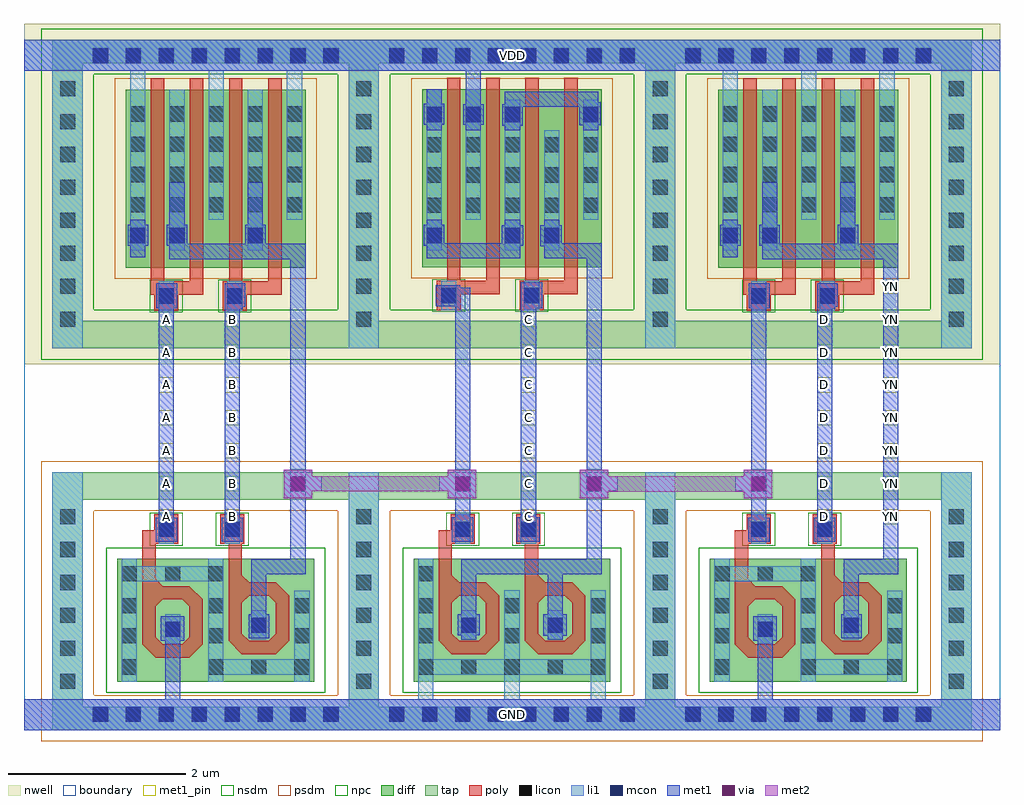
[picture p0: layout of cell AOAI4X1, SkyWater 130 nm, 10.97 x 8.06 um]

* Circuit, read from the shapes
.subckt AOAI4X1 A B C D GND VDD YN
XM1 n1 A GND GND sky130_fd_pr__nfet_01v8 w=2.6 l=0.1468
XM2 n1 B n2 GND sky130_fd_pr__nfet_01v8 w=2.56 l=0.1474
XM3 GND n2 n3 GND sky130_fd_pr__nfet_01v8 w=2.56 l=0.147
XM4 GND C n3 GND sky130_fd_pr__nfet_01v8 w=2.56 l=0.1471
XM5 n4 n3 GND GND sky130_fd_pr__nfet_01v8 w=2.6 l=0.1468
XM6 n4 D YN GND sky130_fd_pr__nfet_01v8 w=2.56 l=0.1473
XM7 n2 A VDD VDD sky130_fd_pr__pfet_01v8 w=2 l=0.15 m=2
XM8 n2 B VDD VDD sky130_fd_pr__pfet_01v8 w=2 l=0.15 m=2
XM9 VDD n2 n5 VDD sky130_fd_pr__pfet_01v8 w=2 l=0.15 m=2
XM10 n3 C n5 VDD sky130_fd_pr__pfet_01v8 w=2 l=0.15 m=2
XM11 YN n3 VDD VDD sky130_fd_pr__pfet_01v8 w=2 l=0.15 m=2
XM12 YN D VDD VDD sky130_fd_pr__pfet_01v8 w=2 l=0.15 m=2
.ends

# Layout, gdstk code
from math import pi, radians
import gdstk
lib = gdstk.Library(unit=1e-6, precision=1e-09)
def R(c, l, rs):  # rectangles x0, y0, x1, y1
    for r in rs: c.add(gdstk.rectangle(r[:2], r[2:], *l))
def A(c, l, x, y, w, h, nx, ny, dx, dy):  # array of equal rectangles
    R(c, l, [(x+i*dx, y+j*dy, x+i*dx+w, y+j*dy+h) for i in range(nx) for j in range(ny)])
def P(c, l, *ps):  # polygons
    for p in ps: c.add(gdstk.Polygon(p, *l))
nwell = (64, 20)
diff = (65, 20)
tap = (65, 44)
poly = (66, 20)
licon = (66, 44)
li1 = (67, 20)
mcon = (67, 44)
met1_pin = (68, 16)
met1 = (68, 20)
via = (68, 44)
met2 = (69, 20)
nsdm = (93, 44)
psdm = (94, 20)
npc = (95, 20)
boundary = (235, 4)

diff_ring_side = lib.new_cell('diff_ring_side')
R(diff_ring_side, nwell, [(-0.435,3.93,0.435,7.75)])
R(diff_ring_side, tap, [(-0.17,-0.17,0.17,2.72), (-0.17,4.11,0.17,7.57)])
A(diff_ring_side, licon, -0.085, 0.285, 0.17, 0.17, 1, 6, 0, 0.37)
A(diff_ring_side, licon, -0.085, 4.355, 0.17, 0.17, 1, 8, 0, 0.37)
R(diff_ring_side, li1, [(-0.17,-0.17,0.17,2.72), (-0.17,4.11,0.17,7.57)])
R(diff_ring_side, met1, [(-0.17,-0.17,0.17,0.17), (-0.17,7.23,0.17,7.57)])
R(diff_ring_side, nsdm, [(-0.295,3.985,0.295,7.695)])
R(diff_ring_side, psdm, [(-0.295,-0.295,0.295,2.845)])

nmos_top_trim1 = lib.new_cell('nmos_top_trim1')
R(nmos_top_trim1, diff, [(0,0,1.24,1.38)])
R(nmos_top_trim1, poly, [(0.43,0.31,0.81,0.46), (0.28,0.46,0.43,0.965), (0.81,0.46,0.96,0.965), (0.43,0.965,0.96,1.115), (0.81,1.115,0.96,1.545)])
P(nmos_top_trim1, poly, [(0.73,1.115),(0.81,1.115),(0.81,1.195)],
  [(0.28,0.965),(0.43,0.965),(0.43,1.115)],
  [(0.43,0.885),(0.43,0.965),(0.51,0.965)],
  [(0.73,0.965),(0.81,0.965),(0.81,0.885)],
  [(0.43,0.54),(0.43,0.46),(0.51,0.46)],
  [(0.73,0.46),(0.81,0.46),(0.81,0.54)],
  [(0.28,0.46),(0.43,0.46),(0.43,0.31)],
  [(0.81,0.31),(0.81,0.46),(0.96,0.46)])
A(nmos_top_trim1, licon, 0.05, 0.08, 0.17, 0.17, 3, 1, 0.485, 0)
R(nmos_top_trim1, licon, [(0.05,0.43,0.22,0.6), (1.02,0.43,1.19,0.6), (0.535,0.55,0.705,0.72), (0.05,0.77,0.22,0.94), (1.02,0.77,1.19,0.94), (1.02,1.13,1.19,1.3)])
R(nmos_top_trim1, li1, [(0.05,0,0.22,0.08), (1.02,0,1.19,0.08), (0.05,0.08,1.19,0.25), (0.05,0.25,0.22,1.02), (1.02,0.25,1.19,1.38), (0.535,0.47,0.705,0.805)])
R(nmos_top_trim1, nsdm, [(-0.125,-0.125,1.365,1.505)])

pmos2_1 = lib.new_cell('pmos2_1')
R(pmos2_1, nwell, [(0.26,-2.175,1.76,0.185)])
R(pmos2_1, diff, [(0.44,-1.995,1.58,0.005)])
R(pmos2_1, poly, [(0.72,-2.3,1.31,-2.15), (0.72,-2.15,0.87,0.135), (1.16,-2.15,1.31,0.135)])
A(pmos2_1, licon, 0.49, -1.385, 0.17, 0.17, 3, 3, 0.44, 0.34)
A(pmos2_1, li1, 0.49, -1.465, 0.17, 1.01, 3, 1, 0.44, 0)
R(pmos2_1, psdm, [(0.315,-2.12,1.705,0.13)])

poly_li1_contact = lib.new_cell('poly_li1_contact')
R(poly_li1_contact, poly, [(-0.16,-0.14,0.17,0.13)])
R(poly_li1_contact, licon, [(-0.08,-0.09,0.09,0.08)])
R(poly_li1_contact, li1, [(-0.16,-0.09,0.17,0.08)])
R(poly_li1_contact, npc, [(-0.18,-0.19,0.19,0.18)])

nmos_top_trim2 = lib.new_cell('nmos_top_trim2')
R(nmos_top_trim2, diff, [(0,0,1.24,1.38)])
R(nmos_top_trim2, poly, [(0.43,0.31,0.81,0.46), (0.28,0.46,0.43,0.89), (0.81,0.46,0.96,0.89), (0.28,0.89,0.435,0.965), (0.805,0.89,0.96,0.965), (0.43,0.965,0.96,1.115), (0.81,1.115,0.96,1.545)])
P(nmos_top_trim2, poly, [(0.73,1.115),(0.81,1.115),(0.81,1.195)],
  [(0.28,0.965),(0.43,0.965),(0.43,1.115)],
  [(0.435,0.89),(0.435,0.965),(0.51,0.965)],
  [(0.73,0.965),(0.805,0.965),(0.805,0.89)],
  [(0.43,0.54),(0.43,0.46),(0.51,0.46)],
  [(0.73,0.46),(0.81,0.46),(0.81,0.54)],
  [(0.28,0.46),(0.43,0.46),(0.43,0.31)],
  [(0.81,0.31),(0.81,0.46),(0.96,0.46)])
A(nmos_top_trim2, licon, 0.05, 0.08, 0.17, 0.17, 3, 1, 0.485, 0)
R(nmos_top_trim2, licon, [(0.05,0.43,0.22,0.6), (1.02,0.43,1.19,0.6), (0.535,0.55,0.705,0.72), (0.05,0.77,0.22,0.94), (1.02,0.77,1.19,0.94)])
R(nmos_top_trim2, li1, [(0.05,0,0.22,0.08), (1.02,0,1.19,0.08), (0.05,0.08,1.19,0.25), (0.05,0.25,0.22,1.025), (1.02,0.25,1.19,1.025), (0.535,0.47,0.705,0.805)])
R(nmos_top_trim2, nsdm, [(-0.125,-0.125,1.365,1.505)])

nor2x1_pcell = lib.new_cell('nor2x1_pcell')
R(nor2x1_pcell, nwell, [(0.435,3.93,2.895,7.75)])
A(nor2x1_pcell, diff, 0.705, 6.655, 0.17, 0.17, 3, 1, 0.44, 0)
R(nor2x1_pcell, diff, [(0.705,5.215,0.875,5.465), (1.585,5.215,1.755,5.25), (2.025,5.215,2.195,5.25), (1.585,5.295,1.755,5.465), (2.025,5.295,2.195,5.465), (2.465,6.655,2.635,6.825)])
R(nor2x1_pcell, tap, [(0.17,-0.17,3.16,0.085), (0.17,2.41,3.16,2.72), (0.17,4.11,3.16,4.42), (0.17,7.315,3.16,7.57)])
R(nor2x1_pcell, poly, [(0.84,1.875,0.99,2.065), (1.81,1.91,1.96,1.915)])
A(nor2x1_pcell, licon, 0.285, -0.085, 0.17, 0.17, 8, 2, 0.37, 7.4)
A(nor2x1_pcell, licon, 0.705, 6.655, 0.17, 0.17, 3, 1, 0.44, 0)
R(nor2x1_pcell, licon, [(0.705,5.295,0.875,5.465), (1.585,5.295,1.755,5.465), (2.025,5.295,2.195,5.465), (2.465,6.655,2.635,6.825)])
R(nor2x1_pcell, li1, [(0.165,-0.17,3.285,0.17), (0.61,0.17,0.78,0.785), (1.58,0.17,1.75,0.445), (2.55,0.17,2.72,0.445), (1.095,0.915,1.265,1.085), (2.065,0.915,2.235,1.085), (1.025,1.995,1.195,2.165), (1.765,1.995,1.935,2.165), (0.87,4.62,1.04,4.79), (1.8,4.62,1.97,4.79), (0.705,5.215,0.875,5.975), (1.585,5.215,1.755,5.975), (2.025,5.215,2.195,5.975), (1.145,6.145,1.315,7.025), (1.585,6.145,1.755,6.905), (2.465,6.145,2.635,6.905), (0.705,6.56,0.875,7.025), (-0.17,7.23,3.335,7.57)])
A(nor2x1_pcell, mcon, 0.285, -0.085, 0.17, 0.17, 8, 2, 0.37, 7.4)
A(nor2x1_pcell, mcon, 0.705, 6.655, 0.17, 0.17, 3, 1, 0.44, 0)
R(nor2x1_pcell, mcon, [(1.095,0.915,1.265,1.085), (2.065,0.915,2.235,1.085), (1.025,1.995,1.195,2.165), (1.765,1.995,1.935,2.165), (0.87,4.62,1.04,4.79), (1.8,4.62,1.97,4.79), (0.705,5.295,0.875,5.465), (1.585,5.295,1.755,5.465), (2.025,5.295,2.195,5.465), (2.465,6.655,2.635,6.825)])
R(nor2x1_pcell, met1, [(0.17,-0.17,3.16,0.17), (1.095,0.835,1.265,0.885), (2.065,0.835,2.235,0.88), (2.015,0.88,2.28,1.12), (1.055,0.885,1.3,1.125), (2.065,1.12,2.235,1.57), (1.095,1.125,1.265,1.57), (1.095,1.57,2.675,1.74), (2.505,1.74,2.675,5.125), (0.985,1.935,1.23,2.215), (1.72,1.935,1.975,2.215), (1.025,2.215,1.195,4.585), (1.765,2.215,1.935,4.56), (1.765,4.56,2.005,4.855), (0.81,4.585,1.195,4.79), (0.81,4.79,1.085,4.82), (0.705,5.125,1.755,5.265), (2.025,5.125,2.675,5.26), (1.985,5.26,2.675,5.295), (0.675,5.265,1.79,5.295), (0.675,5.295,0.905,5.5), (1.55,5.295,1.79,5.495), (1.985,5.295,2.225,5.495), (1.585,5.495,1.755,5.555), (2.025,5.495,2.195,5.555), (0.705,5.5,0.875,5.555), (0.705,6.565,0.875,6.625), (1.145,6.565,1.315,6.625), (1.585,6.565,1.755,6.615), (2.465,6.565,2.635,6.62), (1.555,6.615,1.785,6.825), (2.42,6.62,2.665,6.825), (0.675,6.625,0.905,6.86), (1.115,6.625,1.345,6.855), (1.555,6.825,2.665,6.855), (1.145,6.855,1.315,7.23), (1.585,6.855,2.665,6.875), (0.705,6.86,0.875,7.025), (1.585,6.875,2.635,6.995), (0.17,7.23,3.16,7.57)])
R(nor2x1_pcell, nsdm, [(0.045,3.985,3.285,4.545), (0.045,7.19,3.285,7.695)])
R(nor2x1_pcell, psdm, [(0.045,-0.295,3.285,0.21), (0.045,2.285,3.285,2.845), (0.58,5.09,1,5.59), (1.46,5.09,2.32,5.59), (0.58,6.53,1.88,6.95), (2.34,6.53,2.76,6.95)])
nor2x1_pcell.add(gdstk.Reference(diff_ring_side, (0,0)))
nor2x1_pcell.add(gdstk.Reference(nmos_top_trim1, (1.8,0.365), rotation=pi, x_reflection=True))
nor2x1_pcell.add(gdstk.Reference(pmos2_1, (0.215,7.02)))
nor2x1_pcell.add(gdstk.Reference(poly_li1_contact, (0.96,4.71), rotation=3*pi/2))
nor2x1_pcell.add(gdstk.Reference(poly_li1_contact, (1.115,2.085), rotation=3*pi/2))
nor2x1_pcell.add(gdstk.Reference(nmos_top_trim2, (2.77,0.365), rotation=pi, x_reflection=True))
nor2x1_pcell.add(gdstk.Reference(pmos2_1, (1.095,7.02)))
nor2x1_pcell.add(gdstk.Reference(poly_li1_contact, (1.845,2.075), rotation=pi/2))
nor2x1_pcell.add(gdstk.Reference(poly_li1_contact, (1.89,4.71), rotation=3*pi/2))
nor2x1_pcell.add(gdstk.Reference(diff_ring_side, (3.33,0)))

nmos_bottom = lib.new_cell('nmos_bottom')
R(nmos_bottom, diff, [(0,0,1.24,1.38)])
R(nmos_bottom, poly, [(0.43,0.27,0.81,0.42), (0.28,0.42,0.43,0.925), (0.81,0.42,0.96,0.925), (0.43,0.925,0.96,1.075), (0.81,1.075,0.96,1.51)])
P(nmos_bottom, poly, [(0.73,1.075),(0.81,1.075),(0.81,1.155)],
  [(0.28,0.925),(0.43,0.925),(0.43,1.075)],
  [(0.43,0.845),(0.43,0.925),(0.51,0.925)],
  [(0.73,0.925),(0.81,0.925),(0.81,0.845)],
  [(0.43,0.5),(0.43,0.42),(0.51,0.42)],
  [(0.73,0.42),(0.81,0.42),(0.81,0.5)],
  [(0.28,0.42),(0.43,0.42),(0.43,0.27)],
  [(0.81,0.27),(0.81,0.42),(0.96,0.42)])
A(nmos_bottom, licon, 0.05, 1.13, 0.17, 0.17, 3, 1, 0.485, 0)
R(nmos_bottom, licon, [(0.05,0.08,0.22,0.25), (1.02,0.08,1.19,0.25), (0.05,0.43,0.22,0.6), (1.02,0.43,1.19,0.6), (0.535,0.505,0.705,0.675), (0.05,0.77,0.22,0.94), (1.02,0.77,1.19,0.94)])
R(nmos_bottom, li1, [(0.05,0,0.22,1.13), (1.02,0,1.19,1.13), (0.535,0.425,0.705,0.755), (0.05,1.13,1.19,1.3), (0.05,1.3,0.22,1.38), (1.02,1.3,1.19,1.38)])
R(nmos_bottom, nsdm, [(-0.125,-0.125,1.365,1.505)])

pmos2 = lib.new_cell('pmos2')
R(pmos2, nwell, [(0.26,-2.18,1.76,0.18)])
R(pmos2, diff, [(0.44,-2,1.58,0)])
R(pmos2, poly, [(0.72,-2.305,1.31,-2.155), (0.72,-2.155,0.87,0.13), (1.16,-2.155,1.31,0.13)])
A(pmos2, licon, 0.49, -1.38, 0.17, 0.17, 3, 4, 0.44, 0.34)
R(pmos2, li1, [(0.49,-1.465,0.66,0.21), (0.93,-1.465,1.1,0), (1.37,-1.465,1.54,0.21)])
R(pmos2, psdm, [(0.315,-2.125,1.705,0.125)])

nand2x1_pcell = lib.new_cell('nand2x1_pcell')
R(nand2x1_pcell, nwell, [(0.435,3.93,2.895,7.75)])
R(nand2x1_pcell, diff, [(1.115,5.265,1.345,5.5), (1.995,5.265,2.225,5.5), (0.705,5.295,0.875,5.465)])
R(nand2x1_pcell, tap, [(0.17,-0.17,3.16,-0.15), (0.155,-0.15,3.175,0.085), (0.155,2.4,0.17,2.41), (3.16,2.4,3.175,2.41), (0.155,2.41,3.175,2.71), (0.17,2.71,3.16,2.72), (0.17,4.11,3.16,4.42), (0.17,7.315,3.16,7.57)])
R(nand2x1_pcell, poly, [(0.84,1.875,0.99,2.065), (1.81,1.91,1.96,1.915)])
A(nand2x1_pcell, licon, 0.285, -0.085, 0.17, 0.17, 8, 2, 0.37, 7.4)
R(nand2x1_pcell, licon, [(0.705,5.295,0.875,5.465), (1.145,5.295,1.315,5.465), (2.025,5.295,2.195,5.465)])
R(nand2x1_pcell, li1, [(0.165,-0.17,3.295,0.17), (1.095,0.87,1.265,1.04), (2.065,0.915,2.235,1.085), (1.025,1.995,1.195,2.165), (1.765,1.995,1.935,2.165), (1.025,4.615,1.195,4.785), (1.795,4.615,1.965,4.785), (0.705,5.215,0.875,5.61), (1.145,5.215,1.315,5.61), (2.025,5.215,2.195,5.61), (-0.17,7.23,3.17,7.57)])
A(nand2x1_pcell, mcon, 0.285, -0.085, 0.17, 0.17, 8, 2, 0.37, 7.4)
R(nand2x1_pcell, mcon, [(1.095,0.87,1.265,1.04), (2.065,0.915,2.235,1.085), (1.025,1.995,1.195,2.165), (1.765,1.995,1.935,2.165), (1.025,4.615,1.195,4.785), (1.795,4.615,1.965,4.785), (0.705,5.295,0.875,5.465), (1.145,5.295,1.315,5.465), (2.025,5.295,2.195,5.465)])
R(nand2x1_pcell, met1, [(-0.17,-0.17,3.5,0.17), (1.095,0.17,1.265,0.825), (1.045,0.825,1.31,1.1), (2.035,0.855,2.265,1.12), (2.065,1.12,2.235,1.57), (2.065,1.57,2.675,1.74), (2.505,1.74,2.675,5.115), (0.99,1.935,1.23,2.205), (1.735,1.935,1.97,2.205), (1.025,2.205,1.195,4.56), (1.765,2.205,1.935,4.555), (1.765,4.555,1.97,4.58), (0.995,4.56,1.23,4.845), (1.765,4.58,1.995,4.845), (1.145,5.115,2.675,5.265), (0.705,5.135,0.875,5.265), (0.675,5.265,0.905,5.5), (1.115,5.265,2.675,5.285), (1.115,5.285,1.345,5.5), (1.995,5.285,2.225,5.5), (0.705,5.5,0.875,5.555), (1.145,5.5,1.315,5.98), (2.025,5.5,2.195,5.98), (-0.17,7.23,3.5,7.57)])
R(nand2x1_pcell, nsdm, [(0.045,3.985,3.285,4.545), (0.045,7.19,3.285,7.695)])
R(nand2x1_pcell, psdm, [(0.045,-0.295,3.285,-0.275), (0.03,-0.275,3.3,0.21), (0.03,2.275,0.295,2.285), (3.035,2.275,3.3,2.285), (0.03,2.285,3.3,2.835), (0.045,2.835,3.285,2.845), (0.99,5.14,1.47,5.17), (1.87,5.14,2.35,5.625), (0.58,5.17,1.47,5.59), (0.99,5.59,1.47,5.625)])
nand2x1_pcell.add(gdstk.Reference(diff_ring_side, (0,0)))
nand2x1_pcell.add(gdstk.Reference(nmos_bottom, (1.8,0.365), rotation=pi, x_reflection=True))
nand2x1_pcell.add(gdstk.Reference(pmos2, (0.215,7.02)))
nand2x1_pcell.add(gdstk.Reference(poly_li1_contact, (1.115,4.705), rotation=3*pi/2))
nand2x1_pcell.add(gdstk.Reference(poly_li1_contact, (1.115,2.085), rotation=3*pi/2))
nand2x1_pcell.add(gdstk.Reference(nmos_top_trim1, (2.77,0.365), rotation=pi, x_reflection=True))
nand2x1_pcell.add(gdstk.Reference(pmos2, (1.095,7.02)))
nand2x1_pcell.add(gdstk.Reference(poly_li1_contact, (1.845,2.075), rotation=pi/2))
nand2x1_pcell.add(gdstk.Reference(poly_li1_contact, (1.885,4.705), rotation=3*pi/2))
nand2x1_pcell.add(gdstk.Reference(diff_ring_side, (3.33,0)))

li1_m1_contact = lib.new_cell('li1_M1_contact')
R(li1_m1_contact, li1, [(-0.085,-0.165,0.085,0.165)])
R(li1_m1_contact, mcon, [(-0.085,-0.085,0.085,0.085)])
R(li1_m1_contact, met1, [(-0.115,-0.115,0.115,-0.085), (-0.265,-0.085,0.145,0.085), (-0.115,0.085,0.115,0.115)])

aoai4x1_pcell = lib.new_cell('aoai4x1_pcell')
R(aoai4x1_pcell, met1, [(2.43,2.425,2.75,2.745), (4.275,2.425,4.595,2.745), (5.755,2.425,6.075,2.745), (7.6,2.425,7.92,2.745)])
R(aoai4x1_pcell, via, [(2.515,2.51,2.665,2.66), (4.36,2.51,4.51,2.66), (5.84,2.51,5.99,2.66), (7.685,2.51,7.835,2.66)])
R(aoai4x1_pcell, met2, [(2.43,2.425,2.75,2.505), (4.275,2.425,4.595,2.505), (5.755,2.425,6.075,2.5), (7.6,2.425,7.92,2.5), (5.755,2.5,7.92,2.675), (2.43,2.505,4.595,2.675), (2.43,2.675,2.75,2.745), (4.275,2.675,4.595,2.745), (5.755,2.675,6.075,2.745), (7.6,2.675,7.92,2.745)])
aoai4x1_pcell.add(gdstk.Reference(nor2x1_pcell, (3.33,0)))
aoai4x1_pcell.add(gdstk.Reference(nand2x1_pcell, (6.66,0)))
aoai4x1_pcell.add(gdstk.Reference(nand2x1_pcell, (0,0)))
aoai4x1_pcell.add(gdstk.Reference(li1_m1_contact, (7.77,2.59)))
aoai4x1_pcell.add(gdstk.Reference(li1_m1_contact, (5.92,2.59), rotation=pi))
aoai4x1_pcell.add(gdstk.Reference(li1_m1_contact, (4.44,2.59)))
aoai4x1_pcell.add(gdstk.Reference(li1_m1_contact, (2.59,2.59), rotation=pi))

aoai4x1 = lib.new_cell('AOAI4X1')
R(aoai4x1, nwell, [(0,4.11,0.055,7.93), (10.915,4.11,10.97,7.93), (0.775,7.495,0.945,7.665), (0,7.93,10.97,7.94)])
R(aoai4x1, tap, [(0.32,0,10.65,0.01), (0.32,7.75,10.65,7.76)])
R(aoai4x1, li1, [(0,0,10.97,0.35), (0,7.41,10.97,7.76)])
A(aoai4x1, met1_pin, 1.515, 2.315, 0.17, 0.17, 1, 7, 0, 0.37)
A(aoai4x1, met1_pin, 2.255, 2.315, 0.17, 0.17, 3, 7, 3.33, 0.37)
A(aoai4x1, met1_pin, 9.655, 2.315, 0.17, 0.17, 1, 8, 0, 0.37)
R(aoai4x1, met1_pin, [(0,0,10.97,0.35), (0,7.41,10.97,7.76)])
A(aoai4x1, met1, 1.515, 2.315, 0.17, 0.17, 1, 7, 0, 0.37)
A(aoai4x1, met1, 2.255, 2.315, 0.17, 0.17, 3, 7, 3.33, 0.37)
A(aoai4x1, met1, 9.655, 2.315, 0.17, 0.17, 1, 8, 0, 0.37)
R(aoai4x1, met1, [(0,0,10.97,0.35), (0,7.41,10.97,7.76)])
R(aoai4x1, nsdm, [(0.195,7.625,10.775,7.885)])
R(aoai4x1, psdm, [(0.195,-0.125,10.775,0.135)])
R(aoai4x1, boundary, [(0,0,10.97,7.76)])
aoai4x1.add(gdstk.Reference(aoai4x1_pcell, (0.49,0.18)))
aoai4x1.add(gdstk.Label('YN', (9.74,4.99), layer=68, texttype=5))
aoai4x1.add(gdstk.Label('YN', (9.74,4.62), layer=68, texttype=5))
aoai4x1.add(gdstk.Label('YN', (9.74,4.25), layer=68, texttype=5))
aoai4x1.add(gdstk.Label('YN', (9.74,3.88), layer=68, texttype=5))
aoai4x1.add(gdstk.Label('YN', (9.74,3.51), layer=68, texttype=5))
aoai4x1.add(gdstk.Label('YN', (9.74,2.4), layer=68, texttype=5))
aoai4x1.add(gdstk.Label('YN', (9.74,2.77), layer=68, texttype=5))
aoai4x1.add(gdstk.Label('YN', (9.74,3.14), layer=68, texttype=5))
aoai4x1.add(gdstk.Label('A', (1.6,4.62), layer=68, texttype=5))
aoai4x1.add(gdstk.Label('A', (1.6,4.25), layer=68, texttype=5))
aoai4x1.add(gdstk.Label('A', (1.6,3.88), layer=68, texttype=5))
aoai4x1.add(gdstk.Label('A', (1.6,3.51), layer=68, texttype=5))
aoai4x1.add(gdstk.Label('A', (1.6,2.4), layer=68, texttype=5))
aoai4x1.add(gdstk.Label('A', (1.6,2.77), layer=68, texttype=5))
aoai4x1.add(gdstk.Label('A', (1.6,3.14), layer=68, texttype=5))
aoai4x1.add(gdstk.Label('B', (2.34,2.4), layer=68, texttype=5))
aoai4x1.add(gdstk.Label('B', (2.34,2.77), layer=68, texttype=5))
aoai4x1.add(gdstk.Label('B', (2.34,3.14), layer=68, texttype=5))
aoai4x1.add(gdstk.Label('B', (2.34,4.62), layer=68, texttype=5))
aoai4x1.add(gdstk.Label('B', (2.34,4.25), layer=68, texttype=5))
aoai4x1.add(gdstk.Label('B', (2.34,3.88), layer=68, texttype=5))
aoai4x1.add(gdstk.Label('B', (2.34,3.51), layer=68, texttype=5))
aoai4x1.add(gdstk.Label('C', (5.67,3.88), layer=68, texttype=5))
aoai4x1.add(gdstk.Label('C', (5.67,4.62), layer=68, texttype=5))
aoai4x1.add(gdstk.Label('C', (5.67,4.25), layer=68, texttype=5))
aoai4x1.add(gdstk.Label('C', (5.67,2.4), layer=68, texttype=5))
aoai4x1.add(gdstk.Label('C', (5.67,2.77), layer=68, texttype=5))
aoai4x1.add(gdstk.Label('C', (5.67,3.14), layer=68, texttype=5))
aoai4x1.add(gdstk.Label('C', (5.67,3.51), layer=68, texttype=5))
aoai4x1.add(gdstk.Label('D', (9,4.62), layer=68, texttype=5))
aoai4x1.add(gdstk.Label('D', (9,2.4), layer=68, texttype=5))
aoai4x1.add(gdstk.Label('D', (9,2.77), layer=68, texttype=5))
aoai4x1.add(gdstk.Label('D', (9,3.14), layer=68, texttype=5))
aoai4x1.add(gdstk.Label('D', (9,3.51), layer=68, texttype=5))
aoai4x1.add(gdstk.Label('D', (9,3.88), layer=68, texttype=5))
aoai4x1.add(gdstk.Label('D', (9,4.25), layer=68, texttype=5))
aoai4x1.add(gdstk.Label('VDD', (5.485,7.585), layer=68, texttype=5))
aoai4x1.add(gdstk.Label('GND', (5.485,0.175), layer=68, texttype=5))

lib.write_gds('AOAI4X1.gds')
